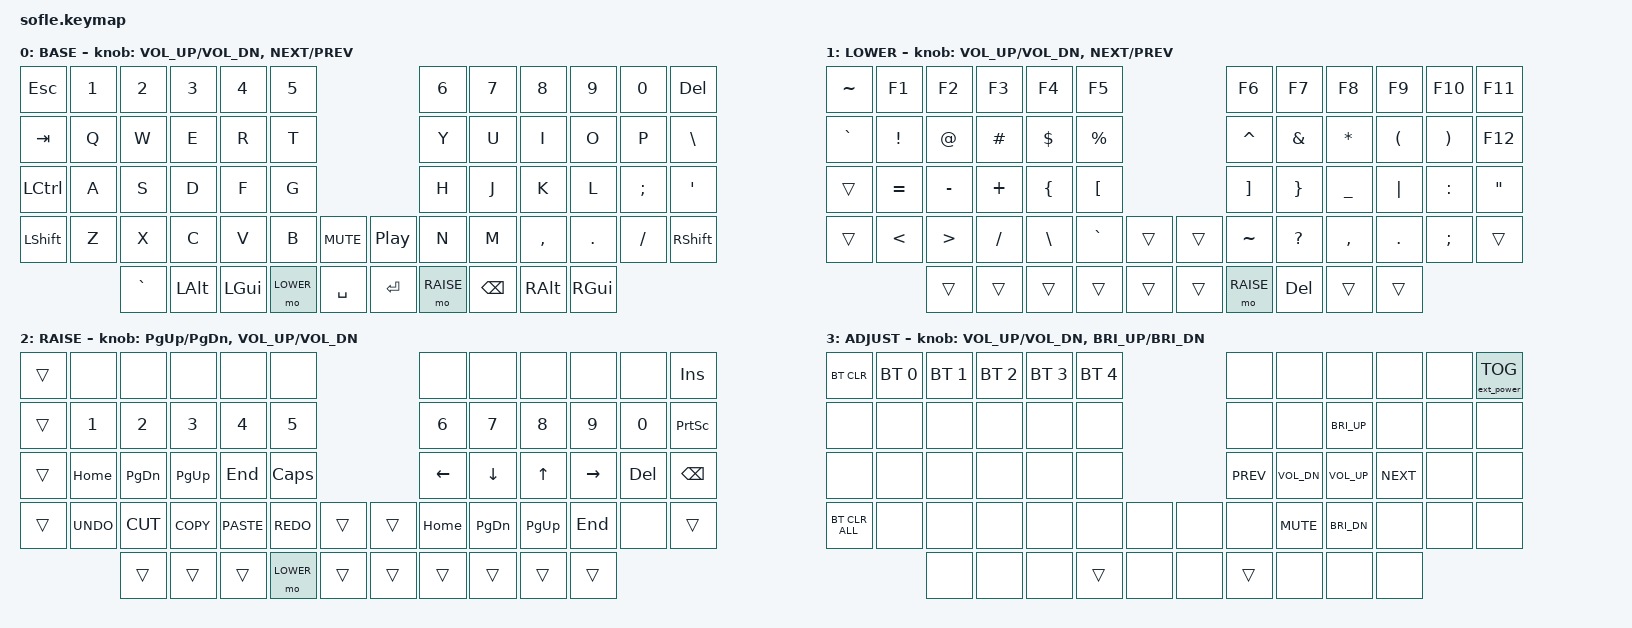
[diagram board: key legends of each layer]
/*
 * Copyright (c) 2020 The ZMK Contributors
 *
 * SPDX-License-Identifier: MIT
 *
 * Optimized Sofle V2 keymap for programming (multi-OS)
 * Layers: BASE, LOWER (symbols/F-keys), RAISE (navigation), ADJUST (system/BT)
 */

#include <behaviors.dtsi>
#include <dt-bindings/zmk/bt.h>
#include <dt-bindings/zmk/ext_power.h>
#include <dt-bindings/zmk/keys.h>

#define BASE   0
#define LOWER  1
#define RAISE  2
#define ADJUST 3

/ {
    // ── Activate ADJUST layer by pressing LOWER + RAISE simultaneously ──
    conditional_layers {
        compatible = "zmk,conditional-layers";

        adjust_layer {
            if-layers = <LOWER RAISE>;
            then-layer = <ADJUST>;
        };
    };

    // ── Custom behaviors ──
    behaviors {
        // Tap: Escape | Hold: Left Control
        // Perfect for Vim users and general programming
        ctrl_esc: tap_dance_ctrl_esc {
            compatible = "zmk,behavior-mod-morph";
            #binding-cells = <0>;
            bindings = <&kp LEFT_CONTROL>, <&kp ESCAPE>;
            mods = <(MOD_LSFT|MOD_RSFT)>;
        };
    };

    combos {
        compatible = "zmk,combos";

        // Press both thumb layer keys to toggle ADJUST
        combo_adjust {
            bindings = <&mo ADJUST>;
            key-positions = <54 55>;     // left inner thumb + right inner thumb
            timeout-ms = <200>;
        };
    };

    keymap {
        compatible = "zmk,keymap";

        // ╭─────────────────────────────────────────────────────────────────────────╮
        // │  BASE LAYER                                                             │
        // │  Standard QWERTY with programmer-friendly thumb cluster                 │
        // │  ESC on top-left, Delete on top-right, layer keys on thumbs             │
        // ╰─────────────────────────────────────────────────────────────────────────╯
        default_layer {
            label = "BASE";

            // ┌───────┬─────┬─────┬──────┬──────┬──────┐                 ┌──────┬──────┬──────┬──────┬──────┬───────┐
            // │  ESC  │  1  │  2  │  3   │  4   │  5   │                 │  6   │  7   │  8   │  9   │  0   │  DEL  │
            // ├───────┼─────┼─────┼──────┼──────┼──────┤                 ├──────┼──────┼──────┼──────┼──────┼───────┤
            // │  TAB  │  Q  │  W  │  E   │  R   │  T   │                 │  Y   │  U   │  I   │  O   │  P   │   \   │
            // ├───────┼─────┼─────┼──────┼──────┼──────┤                 ├──────┼──────┼──────┼──────┼──────┼───────┤
            // │ CTRL  │  A  │  S  │  D   │  F   │  G   │                 │  H   │  J   │  K   │  L   │  ;   │   '   │
            // ├───────┼─────┼─────┼──────┼──────┼──────┼──────┐   ┌──────┼──────┼──────┼──────┼──────┼──────┼───────┤
            // │ SHIFT │  Z  │  X  │  C   │  V   │  B   │ MUTE │   │PAUSE │  N   │  M   │  ,   │  .   │  /   │ SHIFT │
            // └───────┴─────┼─────┼──────┼──────┼──────┼──────┤   ├──────┼──────┼──────┼──────┼──────┼──────┴───────┘
            //               │  `  │ ALT  │ GUI  │LOWER │SPACE │   │ENTER │RAISE │BKSPC │ ALT  │ GUI  │
            //               └─────┴──────┴──────┴──────┴──────┘   └──────┴──────┴──────┴──────┴──────┘

            bindings = <
&kp ESC        &kp N1  &kp N2     &kp N3    &kp N4    &kp N5                                &kp N6     &kp N7    &kp N8     &kp N9    &kp N0    &kp DELETE
&kp TAB        &kp Q   &kp W      &kp E     &kp R     &kp T                                 &kp Y      &kp U     &kp I      &kp O     &kp P     &kp BSLH
&kp LCTRL      &kp A   &kp S      &kp D     &kp F     &kp G                                 &kp H      &kp J     &kp K      &kp L     &kp SEMI  &kp SQT
&kp LSHFT      &kp Z   &kp X      &kp C     &kp V     &kp B      &kp C_MUTE    &kp C_PP     &kp N      &kp M     &kp COMMA  &kp DOT   &kp FSLH  &kp RSHFT
                        &kp GRAVE  &kp LALT  &kp LGUI  &mo LOWER  &kp SPACE     &kp ENTER    &mo RAISE  &kp BSPC  &kp RALT   &kp RGUI
            >;

            sensor-bindings = <&inc_dec_kp C_VOL_UP C_VOL_DN &inc_dec_kp C_NEXT C_PREV>;
        };

        // ╭─────────────────────────────────────────────────────────────────────────╮
        // │  LOWER LAYER  (left thumb hold)                                         │
        // │  F-keys on top, symbols & brackets optimized for programming            │
        // │  Left side: F-keys + common symbols                                     │
        // │  Right side: brackets, braces, programming operators                    │
        // ╰─────────────────────────────────────────────────────────────────────────╯
        lower_layer {
            label = "LOWER";

            // ┌───────┬─────┬─────┬──────┬──────┬──────┐                 ┌──────┬──────┬──────┬──────┬──────┬───────┐
            // │   ~   │ F1  │ F2  │  F3  │  F4  │  F5  │                 │  F6  │  F7  │  F8  │  F9  │ F10  │  F11  │
            // ├───────┼─────┼─────┼──────┼──────┼──────┤                 ├──────┼──────┼──────┼──────┼──────┼───────┤
            // │   `   │  !  │  @  │  #   │  $   │  %   │                 │  ^   │  &   │  *   │  (   │  )   │  F12  │
            // ├───────┼─────┼─────┼──────┼──────┼──────┤                 ├──────┼──────┼──────┼──────┼──────┼───────┤
            // │       │  =  │  -  │  +   │  {   │  [   │                 │  ]   │  }   │  _   │  |   │  :   │   "   │
            // ├───────┼─────┼─────┼──────┼──────┼──────┼──────┐   ┌──────┼──────┼──────┼──────┼──────┼──────┼───────┤
            // │       │  <  │  >  │  /   │  \   │  `   │      │   │      │  ~   │  ?   │  ,   │  .   │  ;   │       │
            // └───────┴─────┼─────┼──────┼──────┼──────┼──────┤   ├──────┼──────┼──────┼──────┼──────┼──────┴───────┘
            //               │     │      │      │ held │      │   │      │ADJUST│ DEL  │      │      │
            //               └─────┴──────┴──────┴──────┴──────┘   └──────┴──────┴──────┴──────┴──────┘

            bindings = <
&kp TILDE  &kp F1     &kp F2     &kp F3    &kp F4    &kp F5                        &kp F6     &kp F7     &kp F8     &kp F9    &kp F10   &kp F11
&kp GRAVE  &kp EXCL   &kp AT     &kp HASH  &kp DLLR  &kp PRCNT                     &kp CARET  &kp AMPS   &kp ASTRK  &kp LPAR  &kp RPAR  &kp F12
&trans     &kp EQUAL  &kp MINUS  &kp PLUS  &kp LBRC  &kp LBKT                      &kp RBKT   &kp RBRC   &kp UNDER  &kp PIPE  &kp COLON &kp DQT
&trans     &kp LT     &kp GT     &kp FSLH  &kp BSLH  &kp GRAVE  &trans     &trans  &kp TILDE  &kp QMARK  &kp COMMA  &kp DOT   &kp SEMI  &trans
                      &trans     &trans    &trans    &trans     &trans     &trans  &mo RAISE  &kp DEL    &trans     &trans
            >;

            sensor-bindings = <&inc_dec_kp C_VOL_UP C_VOL_DN &inc_dec_kp C_NEXT C_PREV>;
        };

        // ╭─────────────────────────────────────────────────────────────────────────╮
        // │  RAISE LAYER  (right thumb hold)                                        │
        // │  Navigation, numpad, and editing keys                                   │
        // │  Left side: numpad-style number entry                                   │
        // │  Right side: arrow keys (Vim-style HJKL), page nav, Home/End            │
        // ╰─────────────────────────────────────────────────────────────────────────╯
        raise_layer {
            label = "RAISE";

            // ┌───────┬─────┬─────┬──────┬──────┬──────┐                 ┌──────┬──────┬──────┬──────┬──────┬───────┐
            // │       │     │     │      │      │      │                 │      │      │      │      │      │  INS  │
            // ├───────┼─────┼─────┼──────┼──────┼──────┤                 ├──────┼──────┼──────┼──────┼──────┼───────┤
            // │       │  1  │  2  │  3   │  4   │  5   │                 │  6   │  7   │  8   │  9   │  0   │ PSCRN │
            // ├───────┼─────┼─────┼──────┼──────┼──────┤                 ├──────┼──────┼──────┼──────┼──────┼───────┤
            // │       │HOME │PGDN │ PGUP │ END  │ CAPS │                 │  ←   │  ↓   │  ↑   │  →   │ DEL  │ BKSPC │
            // ├───────┼─────┼─────┼──────┼──────┼──────┼──────┐   ┌──────┼──────┼──────┼──────┼──────┼──────┼───────┤
            // │       │UNDO │ CUT │ COPY │PASTE │ REDO │      │   │      │HOME  │PGDN  │PGUP  │ END  │      │       │
            // └───────┴─────┼─────┼──────┼──────┼──────┼──────┤   ├──────┼──────┼──────┼──────┼──────┼──────┴───────┘
            //               │     │      │      │ADJUST│      │   │      │ held │      │      │      │
            //               └─────┴──────┴──────┴──────┴──────┘   └──────┴──────┴──────┴──────┴──────┘

            bindings = <
&trans  &none      &none      &none      &none      &none                          &none      &none      &none      &none      &none    &kp INS
&trans  &kp N1     &kp N2     &kp N3     &kp N4     &kp N5                         &kp N6     &kp N7     &kp N8     &kp N9     &kp N0   &kp PSCRN
&trans  &kp HOME   &kp PG_DN  &kp PG_UP  &kp END    &kp CLCK                       &kp LEFT   &kp DOWN   &kp UP     &kp RIGHT  &kp DEL  &kp BSPC
&trans  &kp K_UNDO &kp K_CUT  &kp K_COPY &kp K_PASTE &kp K_REDO &trans     &trans  &kp HOME   &kp PG_DN  &kp PG_UP  &kp END    &none    &trans
                   &trans     &trans     &trans     &mo LOWER  &trans     &trans  &trans     &trans     &trans     &trans
            >;

            sensor-bindings = <&inc_dec_kp PG_UP PG_DN &inc_dec_kp C_VOL_UP C_VOL_DN>;
        };

        // ╭─────────────────────────────────────────────────────────────────────────╮
        // │  ADJUST LAYER  (LOWER + RAISE held together)                            │
        // │  System controls: Bluetooth, power, media, display brightness           │
        // │  Left side: Bluetooth profiles & management                             │
        // │  Right side: Media controls, brightness, reset                          │
        // ╰─────────────────────────────────────────────────────────────────────────╯
        adjust_layer {
            label = "ADJUST";

            // ┌───────┬─────┬─────┬──────┬──────┬──────┐                 ┌──────┬──────┬──────┬──────┬──────┬───────┐
            // │BTCLR  │ BT1 │ BT2 │ BT3  │ BT4  │ BT5  │                 │      │      │      │      │      │EP_TOG │
            // ├───────┼─────┼─────┼──────┼──────┼──────┤                 ├──────┼──────┼──────┼──────┼──────┼───────┤
            // │       │     │     │      │      │      │                 │      │      │ BRIU │      │      │       │
            // ├───────┼─────┼─────┼──────┼──────┼──────┤                 ├──────┼──────┼──────┼──────┼──────┼───────┤
            // │       │     │     │      │      │      │                 │ PREV │ VOL- │ VOL+ │ NEXT │      │       │
            // ├───────┼─────┼─────┼──────┼──────┼──────┼──────┐   ┌──────┼──────┼──────┼──────┼──────┼──────┼───────┤
            // │BTCLRA │     │     │      │      │      │      │   │      │      │ MUTE │ BRID │      │      │       │
            // └───────┴─────┼─────┼──────┼──────┼──────┼──────┤   ├──────┼──────┼──────┼──────┼──────┼──────┴───────┘
            //               │     │      │      │ held │      │   │      │ held │      │      │      │
            //               └─────┴──────┴──────┴──────┴──────┘   └──────┴──────┴──────┴──────┴──────┘

            bindings = <
&bt BT_CLR      &bt BT_SEL 0  &bt BT_SEL 1  &bt BT_SEL 2  &bt BT_SEL 3  &bt BT_SEL 4                      &none      &none      &none         &none      &none  &ext_power EP_TOG
&none           &none         &none         &none         &none         &none                               &none      &none      &kp C_BRI_UP  &none      &none  &none
&none           &none         &none         &none         &none         &none                               &kp C_PREV &kp C_VOL_DN &kp C_VOL_UP &kp C_NEXT &none  &none
&bt BT_CLR_ALL  &none         &none         &none         &none         &none         &none     &none       &none      &kp C_MUTE &kp C_BRI_DN  &none      &none  &none
                              &none         &none         &none         &trans        &none     &none       &trans     &none      &none         &none
            >;

            sensor-bindings = <&inc_dec_kp C_VOL_UP C_VOL_DN &inc_dec_kp C_BRI_UP C_BRI_DN>;
        };
    };
};
